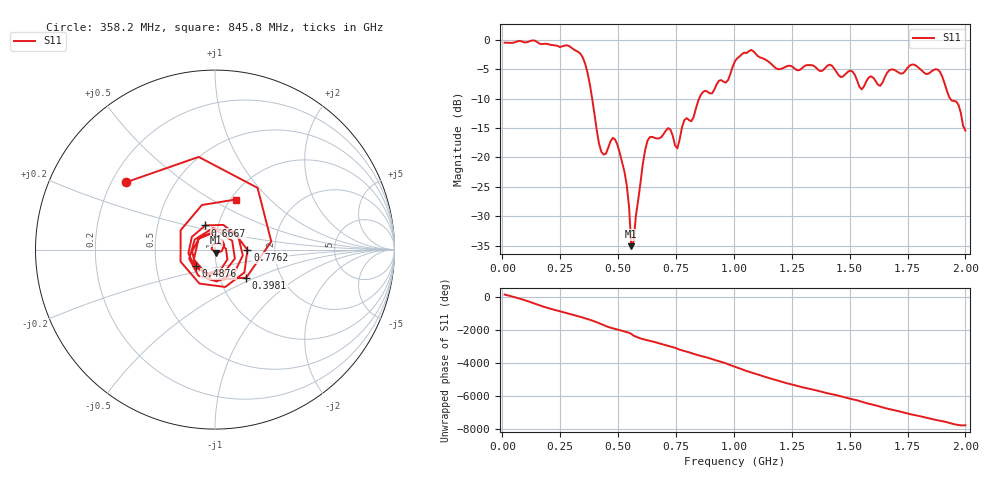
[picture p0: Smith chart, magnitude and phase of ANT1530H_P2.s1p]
!Created with skrf (http://scikit-rf.org).
# Hz S RI R 50.0
!freq ReS11 ImS11
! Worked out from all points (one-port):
!   201 points, 10 MHz to 2 GHz, reference 50 ohm
!   lowest |S11| = -35.1 dB at 557.2 MHz (marker M1), VSWR 1.04, Z = 50.3 - j1.74 ohm
!   |S11| at or under -10 dB: 388.2 MHz to 850.2 MHz (462 MHz wide, 74.6 % of centre); 1.935 GHz to end of sweep
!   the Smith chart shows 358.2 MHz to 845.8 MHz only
!   S11 on the Smith chart (normalised r, x): 358.2 MHz: 0.26, +0.31; 398.1 MHz: 1.34, -0.44; 487.6 MHz: 0.79, -0.15; 666.7 MHz: 0.87, +0.24; 776.1 MHz: 1.44, -0.01; 845.8 MHz: 1.05, +0.65
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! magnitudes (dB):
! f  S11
! 10 MHz  -0.5
! 258.8 MHz  -1.1
! 358.2 MHz  -4.1
! 398.1 MHz  -12.6
! 427.9 MHz  -19.0
! 487.6 MHz  -17.0
! 507.5 MHz  -19.3
! 537.4 MHz  -24.7
! 547.3 MHz  -28.3
! 557.2 MHz  -35.1
! 567.2 MHz  -34.2
! 617 MHz  -18.7
! 666.7 MHz  -16.8
! 716.5 MHz  -15.0
! 756.2 MHz  -18.5
! 776.1 MHz  -14.9
! 816 MHz  -13.8
! 845.8 MHz  -10.4
! 965.2 MHz  -7.3
! 1.005 GHz  -3.6
! 1.075 GHz  -1.7
! 1.254 GHz  -4.6
! 1.502 GHz  -5.2
! 1.552 GHz  -8.4
! 1.751 GHz  -4.7
! 1.891 GHz  -5.5
! 1.97 GHz  -11.0
! 2 GHz  -15.4
